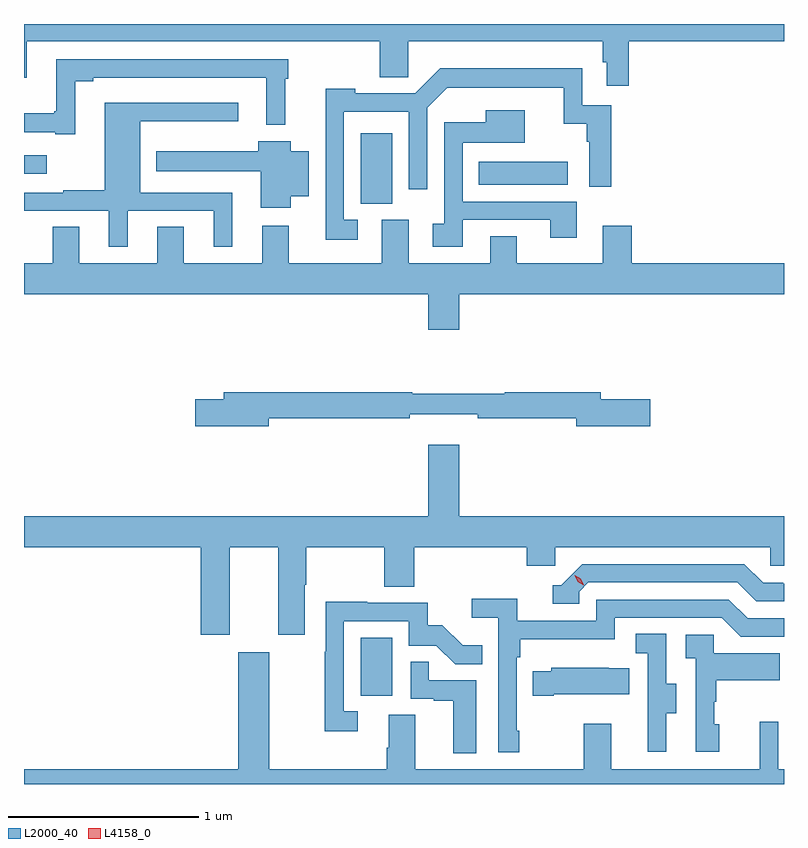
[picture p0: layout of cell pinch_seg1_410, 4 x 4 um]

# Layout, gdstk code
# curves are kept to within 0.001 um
import gdstk
lib = gdstk.Library(unit=1e-6, precision=1e-09)
def R(c, l, rs):  # rectangles x0, y0, x1, y1
    for r in rs: c.add(gdstk.rectangle(r[:2], r[2:], *l))
def P(c, l, *ps):  # polygons
    for p in ps: c.add(gdstk.Polygon(p, *l))
L2000_40 = (2000, 40)
L4158_0 = (4158, 0)

pinch_seg1_410 = lib.new_cell('pinch_seg1_410')
R(pinch_seg1_410, L2000_40, [(907.91,534.966,908.074,535.273), (907.91,537.556,908.074,537.928), (908.53,537.656,908.998,537.778), (906.137,537.714,906.256,537.81)])
P(pinch_seg1_410, L2000_40, [(909.32,538.412),(910.137,538.412),(910.137,538.502),(906.137,538.502),(906.137,538.218),(906.151,538.218),(906.151,538.412),(908.009,538.412),(908.009,538.222),(908.159,538.222),(908.159,538.412),(909.184,538.412),(909.184,538.302),(909.204,538.302),(909.204,538.176),(909.32,538.176)],
  [(906.406,538.201),(906.502,538.201),(906.502,538.22),(907.412,538.22),(907.412,537.971),(907.511,537.971),(907.511,538.214),(907.529,538.214),(907.529,538.317),(906.308,538.317),(906.308,538.042),(906.297,538.042),(906.297,538.031),(906.137,538.031),(906.137,537.933),(906.302,537.933),(906.302,537.921),(906.406,537.921)],
  [(907.894,537.471),(907.821,537.471),(907.821,538.041),(908.163,538.041),(908.163,537.633),(908.259,537.633),(908.259,538.062),(908.364,538.167),(908.978,538.166),(908.978,537.977),(909.099,537.977),(909.099,537.881),(909.111,537.881),(909.111,537.645),(909.227,537.645),(909.227,538.074),(909.075,538.074),(909.075,538.27),(908.329,538.27),(908.196,538.137),(907.881,538.137),(907.881,538.162),(907.724,538.162),(907.725,537.366),(907.894,537.366)],
  [(906.682,537.519),(907.136,537.519),(907.136,537.329),(907.234,537.329),(907.234,537.615),(906.748,537.615),(906.748,537.989),(907.264,537.989),(907.264,538.087),(906.563,538.087),(906.563,537.628),(906.343,537.628),(906.343,537.615),(906.137,537.615),(906.137,537.519),(906.584,537.519),(906.584,537.329),(906.682,537.329)],
  [(908.446,537.471),(908.906,537.471),(908.906,537.378),(909.046,537.378),(909.046,537.567),(908.445,537.567),(908.445,537.878),(908.773,537.878),(908.773,538.048),(908.567,538.048),(908.567,537.985),(908.349,537.985),(908.349,537.45),(908.289,537.45),(908.289,537.33),(908.446,537.33)],
  [(907.54,537.596),(907.636,537.596),(907.636,537.832),(907.54,537.832),(907.54,537.886),(907.37,537.886),(907.37,537.832),(906.833,537.832),(906.833,537.728),(907.382,537.728),(907.382,537.534),(907.54,537.534)],
  [(908.428,537.08),(910.137,537.08),(910.137,537.244),(909.335,537.244),(909.335,537.439),(909.182,537.439),(909.182,537.244),(908.731,537.244),(908.731,537.386),(908.591,537.386),(908.591,537.244),(908.161,537.244),(908.161,537.471),(908.021,537.471),(908.021,537.244),(907.531,537.244),(907.531,537.439),(907.391,537.439),(907.391,537.244),(906.979,537.244),(906.979,537.434),(906.839,537.434),(906.839,537.244),(906.427,537.244),(906.427,537.434),(906.287,537.434),(906.287,537.244),(906.137,537.244),(906.137,537.08),(908.264,537.08),(908.264,536.892),(908.428,536.892)],
  [(907.426,536.428),(908.168,536.428),(908.168,536.447),(908.524,536.447),(908.524,536.428),(909.044,536.428),(909.044,536.386),(909.433,536.386),(909.433,536.528),(909.172,536.528),(909.172,536.564),(908.668,536.564),(908.668,536.557),(908.18,536.557),(908.18,536.564),(907.187,536.564),(907.187,536.528),(907.038,536.528),(907.038,536.386),(907.426,536.386)],
  [(907.219,535.748),(907.475,535.748),(907.475,535.287),(907.615,535.287),(907.615,535.552),(907.623,535.552),(907.623,535.748),(908.032,535.748),(908.032,535.54),(908.192,535.54),(908.192,535.748),(908.783,535.748),(908.783,535.65),(908.934,535.65),(908.934,535.748),(910.065,535.748),(910.065,535.65),(910.137,535.65),(910.137,535.912),(908.428,535.912),(908.428,536.287),(908.264,536.287),(908.264,535.912),(906.137,535.912),(906.137,535.748),(907.067,535.748),(907.067,535.287),(907.219,535.287)],
  [(909.06,535.515),(909.108,535.563),(909.891,535.563),(909.99,535.464),(910.137,535.464),(910.137,535.557),(910.134,535.557),(910.134,535.56),(910.027,535.56),(909.928,535.659),(909.075,535.659),(908.964,535.548),(908.921,535.548),(908.921,535.452),(909.06,535.452)],
  [(908.743,534.781),(908.73,534.781),(908.73,535.169),(908.75,535.169),(908.75,535.265),(909.246,535.265),(909.246,535.377),(909.81,535.377),(909.909,535.278),(910.137,535.278),(910.137,535.374),(909.946,535.374),(909.847,535.473),(909.15,535.473),(909.15,535.362),(908.732,535.362),(908.732,535.478),(908.493,535.478),(908.493,535.376),(908.634,535.376),(908.634,534.669),(908.743,534.669)],
  [(907.894,534.885),(907.821,534.885),(907.821,535.359),(908.163,535.359),(908.163,535.23),(908.308,535.23),(908.406,535.132),(908.549,535.132),(908.549,535.231),(908.445,535.231),(908.338,535.338),(908.262,535.338),(908.262,535.455),(907.943,535.455),(907.943,535.46),(907.725,535.46),(907.725,535.199),(907.72,535.199),(907.72,534.78),(907.894,534.78)],
  [(909.517,534.874),(909.571,534.874),(909.571,535.029),(909.516,535.029),(909.516,535.292),(909.357,535.292),(909.357,535.189),(909.42,535.189),(909.42,534.885),(909.419,534.885),(909.419,534.672),(909.517,534.672)],
  [(909.796,534.816),(909.771,534.816),(909.771,534.935),(909.781,534.935),(909.781,535.049),(910.115,535.049),(910.115,535.189),(909.768,535.189),(909.768,535.287),(909.621,535.287),(909.621,535.163),(909.672,535.163),(909.672,534.672),(909.796,534.672)],
  [(910.137,534.58),(910.107,534.58),(910.107,534.829),(910.01,534.829),(910.01,534.58),(909.229,534.58),(909.229,534.82),(909.082,534.82),(909.082,534.58),(908.197,534.58),(908.197,534.866),(908.057,534.866),(908.057,534.692),(908.045,534.692),(908.045,534.58),(907.429,534.58),(907.429,535.195),(907.265,535.195),(907.265,534.58),(906.137,534.58),(906.137,534.502),(910.137,534.502)],
  [(908.518,535.047),(908.267,535.047),(908.267,535.145),(908.172,535.145),(908.172,534.951),(908.293,534.951),(908.293,534.939),(908.396,534.939),(908.396,534.665),(908.518,534.665)],
  [(908.926,534.974),(909.323,534.974),(909.323,535.111),(909.215,535.111),(909.215,535.114),(908.913,535.114),(908.913,535.096),(908.815,535.096),(908.815,534.967),(908.926,534.967)])
P(pinch_seg1_410, L4158_0, [(909.083,535.548),(909.052,535.567),(909.036,535.6),(909.036,535.6),(909.036,535.6),(909.067,535.581),(909.083,535.548),(909.083,535.548)])

lib.write_gds('pinch_seg1_410.gds')
